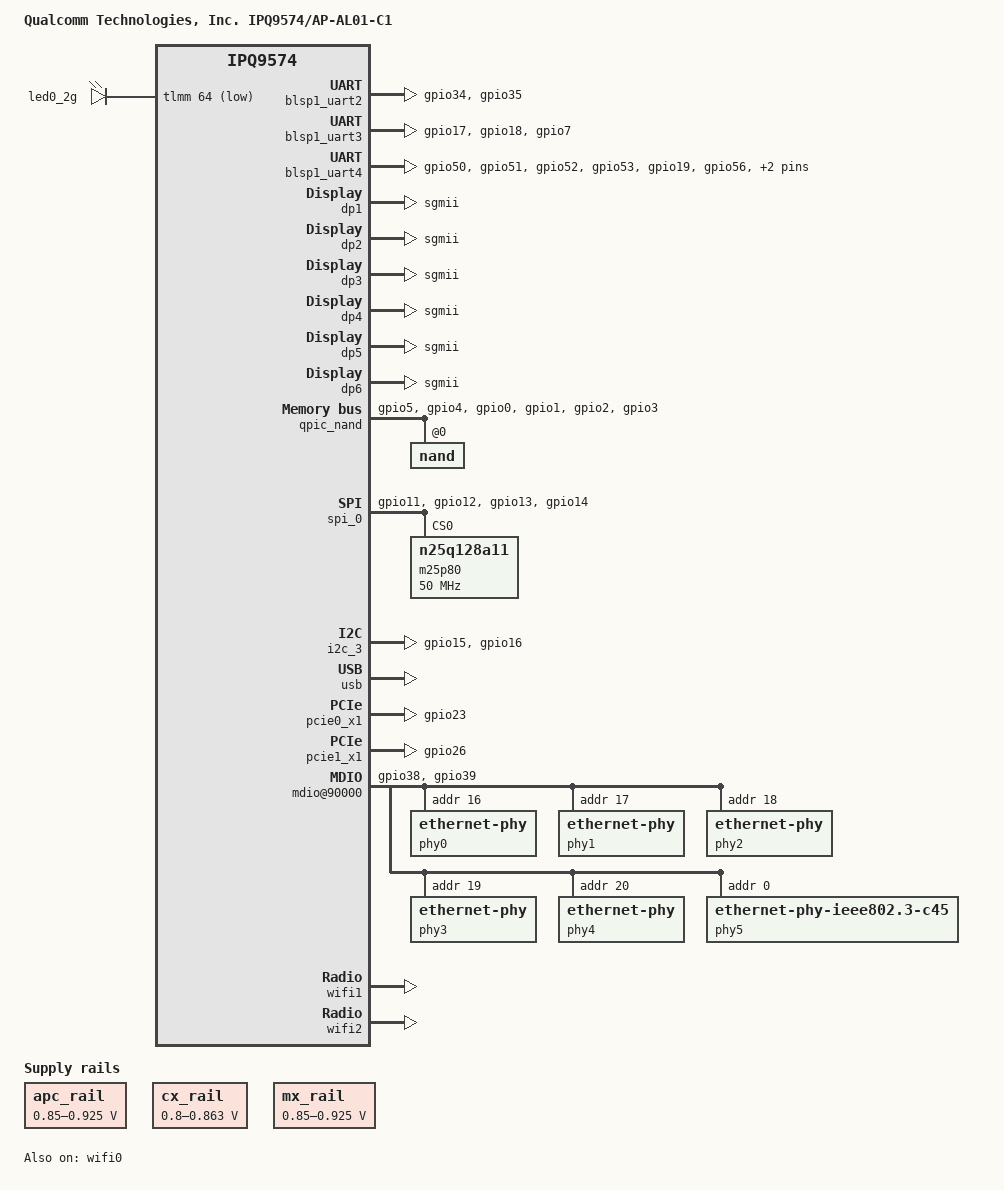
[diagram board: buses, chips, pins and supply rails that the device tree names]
// SPDX-License-Identifier: (GPL-2.0+ OR BSD-3-Clause)
/*
 * IPQ9574 AL01-C1 board device tree source
 *
 * Copyright (c) 2020-2021 The Linux Foundation. All rights reserved.
 * Copyright (c) 2022 Qualcomm Innovation Center, Inc. All rights reserved.
 */

/dts-v1/;

#include "ipq9574.dtsi"
#ifdef __IPQ_MEM_PROFILE_512_MB__
#include "ipq9574-512MB-memory.dtsi"
#else
#include "ipq9574-default-memory.dtsi"
#endif
#include "ipq9574-cpu.dtsi"

/ {
	#address-cells = <0x2>;
	#size-cells = <0x2>;
	model = "Qualcomm Technologies, Inc. IPQ9574/AP-AL01-C1";
	compatible = "qcom,ipq9574-ap-al01-c1", "qcom,ipq9574-al01", "qcom,ipq9574";
	interrupt-parent = <&intc>;

	aliases {
		serial0 = &blsp1_uart2;
		serial1 = &blsp1_uart4;
		serial2 = &blsp1_uart3;
		ethernet0 = "/soc/dp1";
		ethernet1 = "/soc/dp2";
		ethernet2 = "/soc/dp3";
		ethernet3 = "/soc/dp4";
		ethernet4 = "/soc/dp5";
		ethernet5 = "/soc/dp6";
	};

	chosen {
		stdout-path = "serial0";
	};

	soc {
		pinctrl@1000000 {
			pci0_pin: pci0-pinmux {
				pins = "gpio23";
				function = "gpio";
				drive-strength = <8>;
				bias-pull-up;
				output-low;
			};

			pci1_pin: pci1-pinmux {
				pins = "gpio26";
				function = "gpio";
				drive-strength = <8>;
				bias-pull-down;
				output-low;
			};

			pci2_pin: pci2-pinmux {
				pins = "gpio29";
				function = "gpio";
				drive-strength = <8>;
				bias-pull-down;
				output-low;
			};

			blsp1_uart2_pins: blsp1_uart2_pinmux {
				pins = "gpio34", "gpio35";
				function = "blsp2_uart";
				drive-strength = <8>;
				bias-disable;
			};

			gps_pins: gps_pins {
				blsp3_uart_pinmux {
					pins = "gpio17", "gpio18";
					function = "blsp3_uart";
					drive-strength = <8>;
					bias-disable;
				};

				gps_on_off {
					pins = "gpio7";
					function = "gpio";
					drive-strength = <8>;
					bias-pull-down;
				};
			};

			leds_pins: leds_pinmux {
				led0_2g {
					pins = "gpio64";
					function = "gpio";
					drive-strength = <8>;
					bias-pull-up;
				};
			};

			qspi_nand_pins: qspi_nand_pins {
				qspi_clock {
					pins = "gpio5";
					function = "qspi_clk";
					drive-strength = <8>;
					bias-disable;
				};

				qspi_cs {
					pins = "gpio4";
					function = "qspi_cs";
					drive-strength = <8>;
					bias-disable;
				};

				qspi_data {
					pins = "gpio0", "gpio1", "gpio2", "gpio3";
					function = "qspi_data";
					drive-strength = <8>;
					bias-disable;
				};
			};

			spi_0_pins: spi-0-pins {
				pins = "gpio11", "gpio12", "gpio13", "gpio14";
				function = "blsp0_spi";
				drive-strength = <8>;
				bias-disable;
			};

			i2c_3_pins: i2c-3-pins {
				pins = "gpio15", "gpio16";
				function = "blsp3_i2c";
				drive-strength = <8>;
				bias-disable;
			};

			mdio_pins: mdio_pinmux {
				mux_0 {
					pins = "gpio38";
					function = "mdc";
					drive-strength = <8>;
					bias-disable;
				};
				mux_1 {
					pins = "gpio39";
					function = "mdio";
					drive-strength = <8>;
					bias-pull-up;
				};
			};

			button_pins: button_pins {
				wps_button {
					pins = "gpio37";
					function = "gpio";
					drive-strength = <8>;
					bias-pull-up;
				};
			};

			QCC710_pins: QCC710_pins {
				blsp1_uart4_pinmux {
					pins = "gpio50", "gpio51", "gpio52", "gpio53";
					function = "blsp4_uart";
					drive-strength = <8>;
					bias-disable;
				};
				QCC710_reset {
					pins = "gpio19";
					function = "gpio";
					drive-strength = <8>;
					bias-pull-down;
				};
			};

			pta_QCC710: pta_QCC710 {
				pta1_0 {
					pins = "gpio56";
					function = "pta1_0";
					drive-strength = <8>;
					bias-disable;
				};
				pta1_1 {
					pins = "gpio54";
					function = "pta1_1";
					drive-strength = <8>;
					bias-disable;
				};
				pta1_2 {
					pins = "gpio55";
					function = "pta1_2";
					drive-strength = <8>;
					bias-disable;
				};
			};
		};

		blsp1_uart2: serial@78b1000 {
			pinctrl-0 = <&blsp1_uart2_pins>;
			pinctrl-names = "default";
			status = "ok";
		};

		blsp1_uart3: serial@78b2000 {
			pinctrl-0 = <&gps_pins>;
			pinctrl-names = "default";
			status = "ok";
		};

		blsp1_uart4: serial@78b3000 {
			pinctrl-0 = <&QCC710_pins &pta_QCC710>;
			pinctrl-names = "default";
			status = "ok";
		};

		nss0: nss@40000000 {
			npu-supply = <&dummy_reg>;
			mx-supply = <&dummy_reg>;
		};

		rpm-glink {
			status = "disabled";
		};

		dp1 {
			device_type = "network";
			compatible = "qcom,nss-dp";
			qcom,id = <1>;
			reg = <0x3a001000 0x200>;
			qcom,mactype = <0>;
			qcom,link-poll = <1>;
			local-mac-address = [000000000000];
			qcom,phy-mdio-addr = <16>;
			phy-mode = "sgmii";
		};

		dp2 {
			device_type = "network";
			compatible = "qcom,nss-dp";
			qcom,id = <2>;
			reg = <0x3a001200 0x200>;
			qcom,mactype = <0>;
			qcom,link-poll = <1>;
			local-mac-address = [000000000000];
			qcom,phy-mdio-addr = <17>;
			phy-mode = "sgmii";
		};

		dp3 {
			device_type = "network";
			compatible = "qcom,nss-dp";
			qcom,id = <3>;
			reg = <0x3a001400 0x200>;
			qcom,mactype = <0>;
			qcom,link-poll = <1>;
			local-mac-address = [000000000000];
			qcom,phy-mdio-addr = <18>;
			phy-mode = "sgmii";
		};

		dp4 {
			device_type = "network";
			compatible = "qcom,nss-dp";
			qcom,id = <4>;
			reg = <0x3a001600 0x200>;
			qcom,mactype = <0>;
			qcom,link-poll = <1>;
			local-mac-address = [000000000000];
			qcom,phy-mdio-addr = <19>;
			phy-mode = "sgmii";
		};

		dp5 {
			device_type = "network";
			compatible = "qcom,nss-dp";
			qcom,id = <5>;
			reg = <0x3a001800 0x200>;
			qcom,mactype = <0>;
			qcom,link-poll = <1>;
			local-mac-address = [000000000000];
			qcom,phy-mdio-addr = <20>;
			phy-mode = "sgmii";
		};

		dp6 {
			device_type = "network";
			compatible = "qcom,nss-dp";
			qcom,id = <6>;
			reg = <0x3a514000 0x4000>;
			qcom,mactype = <1>;
			qcom,link-poll = <1>;
			local-mac-address = [000000000000];
			qcom,phy-mdio-addr = <0>;
			phy-mode = "sgmii";
		};

		qpic_bam: dma@7984000 {
			status = "ok";
		};

		qpic_nand: nand@79b0000 {
			status = "ok";
			pinctrl-0 = <&qspi_nand_pins>;
			pinctrl-names = "default";
			qcom,io_macro_max_clk = <320000000>;
			qcom,io_macro_clk_rates = <24000000 100000000 200000000 \
						  320000000>;
			nand@0 {
				reg = <0>;
				#address-cells = <1>;
				#size-cells = <1>;

				nand-ecc-strength = <4>;
				nand-ecc-step-size = <512>;
				nand-bus-width = <8>;
			};
		};

		spi_0: spi@78b5000 { /* BLSP1 QUP0 */
			status = "ok";
			pinctrl-0 = <&spi_0_pins>;
			pinctrl-names = "default";
			cs-select = <0>;

			m25p80@0 {
				compatible = "n25q128a11";
				#address-cells = <1>;
				#size-cells = <1>;
				reg = <0>;
				spi-max-frequency = <50000000>;
			};
		};

		eud: qcom,msm-eud {
			status = "ok";
		};

		i2c_3: i2c@78b8000 {
			status = "ok";
			pinctrl-0 = <&i2c_3_pins>;
			pinctrl-names = "default";
		};

		usb: usb3@8A00000 {
			status = "ok";
		};

		qusb_phy_0: qusb@7B000 {
			status = "ok";
		};

		ssphy_0: ssphy@7D000 {
			status = "ok";
		};

		leds {
			compatible = "gpio-leds";
			pinctrl-0 = <&leds_pins>;
			pinctrl-names = "default";
			led@64 {
				label = "led0_2g";
				gpios = <&tlmm 64 GPIO_ACTIVE_LOW>;
				linux,default-trigger = "led_2g";
				default-state = "off";
			};
		};

		pcie0_x1: pci@28000000 {
			pinctrl-0 = <&pci0_pin>;
			pinctrl-names = "default";
			perst-gpio = <&tlmm 23 1>;
			status = "ok";
			pcie0_rp {
				reg = <0 0 0 0 0>;

				wifi@0 {
					reg = <0 0 0 0 0>;
					qrtr_instance_id = <0x20>;
#if defined(__CNSS2__)
					memory-region = <0>,<&mhi_region0>;
#endif
					status = "ok";
				};
			};
		};

		pcie0_phy: phy@84000 {
			status = "ok";
		};

		pcie1_x1: pci@10000000 {
			pinctrl-0 = <&pci1_pin>;
			pinctrl-names = "default";
			perst-gpio = <&tlmm 26 1>;
			status = "ok";
			pcie1_rp {
				reg = <0 0 0 0 0>;

				wifi@1 {
					reg = <0 0 0 0 0>;
					qrtr_instance_id = <0x21>;
#if defined(__CNSS2__)
					memory-region = <0>,<&mhi_region1>;
#endif
					status = "ok";
				};
			};
		};

		pcie1_phy: phy@fc000 {
			status = "ok";
		};

		pcie2_x2: pci@20000000 {
			pinctrl-0 = <&pci2_pin>;
			pinctrl-names = "default";
			perst-gpio = <&tlmm 29 1>;
			status = "disabled";
			pcie2_rp {
				reg = <0 0 0 0 0>;
			};
		};

		pcie2_phy: phy@8c000 {
			status = "disabled";
		};

		mdio@90000 {
			status = "ok";
			pinctrl-0 = <&mdio_pins>;
			pinctrl-names = "default";
			/*gpio60 for malibu reset, gpio36 for aqr reset reserved */
			phy-reset-gpio = <&tlmm 60 0>;
			phy0: ethernet-phy@0 {
				reg = <16>;
			};
			phy1: ethernet-phy@1 {
				reg = <17>;
			};
			phy2: ethernet-phy@2 {
				reg = <18>;
			};
			phy3: ethernet-phy@3 {
				reg = <19>;
			};
			phy4: ethernet-phy@4 {
				reg = <20>;
			};
			phy5: ethernet-phy@5 {
				compatible ="ethernet-phy-ieee802.3-c45";
				reg = <0>;
			};
		};

		ess-instance {
			num_devices = <0x1>;
			ess-switch@3a000000 {
				switch_cpu_bmp = <0x1>;  /* cpu port bitmap */
				switch_lan_bmp = <0x3e>; /* lan port bitmap */
				switch_wan_bmp = <0x40>; /* wan port bitmap */
				switch_mac_mode = <0x0>; /* mac mode for uniphy instance0*/
				switch_mac_mode1 = <0xff>; /* mac mode for uniphy instance1*/
				switch_mac_mode2 = <0xd>; /* mac mode for uniphy instance2*/
				bm_tick_mode = <0>; /* bm tick mode */
				tm_tick_mode = <0>; /* tm tick mode */

				qcom,port_phyinfo {
					port@0 {
						port_id = <1>;
						phy_address = <16>;
					};
					port@1 {
						port_id = <2>;
						phy_address = <17>;
					};
					port@2 {
						port_id = <3>;
						phy_address = <18>;
					};
					port@3 {
						port_id = <4>;
						phy_address = <19>;
					};
					port@4 {
						port_id = <5>;
						phy_address = <20>;
					};
					port@5 {
						port_id = <6>;
						phy_address = <0>;
						ethernet-phy-ieee802.3-c45;
					};
				};

			};
		};

		/* EDMA host driver configuration for the board */
		edma@3ab00000 {
			qcom,txdesc-ring-start = <4>;		/* Tx desc ring start ID */
			qcom,txdesc-rings = <28>;		/* Total number of Tx desc rings to be provisioned */
			qcom,txcmpl-ring-start = <4>;		/* Tx complete ring start ID */
			qcom,txcmpl-rings = <28>;		/* Total number of Tx complete rings to be provisioned */
			qcom,rxfill-ring-start = <4>;		/* Rx fill ring start ID */
			qcom,rxfill-rings = <4>;		/* Total number of Rx fill rings to be provisioned */
			qcom,rxdesc-ring-start = <20>;		/* Rx desc ring start ID */
			qcom,rxdesc-rings = <4>;		/* Total number of Rx desc rings to be provisioned */
			qcom,rx-page-mode = <0>;		/* Rx fill ring page mode */
			qcom,tx-map-priority-level = <1>;	/* Tx priority level per port */
			qcom,rx-map-priority-level = <1>;	/* Rx priority level per core */
			qcom,ppeds-num = <0>;			/* Number of PPEDS nodes */
			qcom,txdesc-map = <8 9 10 11>,		/* Port0 per-core Tx ring map */
					<12 13 14 15>,		/* Port1 per-core Tx ring map */
					<16 17 18 19>,		/* Port2 per-core Tx ring map */
					<20 21 22 23>,		/* Port3 per-core Tx ring map */
					<24 25 26 27>,		/* Port4 per-core Tx ring map */
					<28 29 30 31>,		/* Port5 per-core Tx ring map */
					<4 5 6 7>;		/* Used only for packets from VP */
			qcom,txdesc-fc-grp-map = <1 2 3 4 5 6>;	/* Per GMAC flow control group map */
			qcom,rxfill-map = <4 5 6 7>;		/* Per-core Rx fill ring map */
			qcom,rxdesc-map = <20 21 22 23>;	/* Per-core Rx desc ring map */
			qcom,rx-queue-start = <0>;		/* Rx queue start */
			qcom,rx-ring-queue-map = <0 8 16 24>,	/* Priority 0 queues per-core Rx ring map */
					<1 9 17 25>,		/* Priority 1 queues per-core Rx ring map */
					<2 10 18 26>,		/* Priority 2 queues per-core Rx ring map */
					<3 11 19 27>,		/* Priority 3 queues per-core Rx ring map */
					<4 12 20 28>,		/* Priority 4 queues per-core Rx ring map */
					<5 13 21 29>,		/* Priority 5 queues per-core Rx ring map */
					<6 14 22 30>,		/* Priority 6 queues per-core Rx ring map */
					<7 15 23 31>;		/* Priority 7 queues per-core Rx ring map */
			qcom,vp-id = <8>;			/* Virtual port dummy MAC Id */
			qcom,txdesc_point_offload_ring = <0>;		/* Txdesc point offlaod ring */
			qcom,txcmpl_point_offload_ring = <0>;		/* Txcmpl point offlaod ring */
			qcom,rxfill_point_offload_ring = <0>;		/* Rxfill point offlaod ring */
			qcom,rxdesc_point_offload_ring = <0>;		/* Rxdesc point offlaod ring */
			interrupts = <0 367 4>,			/* Tx complete ring id #4 IRQ info */
				   <0 368 4>,			/* Tx complete ring id #5 IRQ info */
				   <0 369 4>,			/* Tx complete ring id #6 IRQ info */
				   <0 370 4>,			/* Tx complete ring id #7 IRQ info */
				   <0 371 4>,			/* Tx complete ring id #8 IRQ info */
				   <0 372 4>,			/* Tx complete ring id #9 IRQ info */
				   <0 373 4>,			/* Tx complete ring id #10 IRQ info */
				   <0 374 4>,			/* Tx complete ring id #11 IRQ info */
				   <0 375 4>,			/* Tx complete ring id #12 IRQ info */
				   <0 376 4>,			/* Tx complete ring id #13 IRQ info */
				   <0 377 4>,			/* Tx complete ring id #14 IRQ info */
				   <0 378 4>,			/* Tx complete ring id #15 IRQ info */
				   <0 379 4>,			/* Tx complete ring id #16 IRQ info */
				   <0 380 4>,			/* Tx complete ring id #17 IRQ info */
				   <0 381 4>,			/* Tx complete ring id #18 IRQ info */
				   <0 382 4>,			/* Tx complete ring id #19 IRQ info */
				   <0 383 4>,			/* Tx complete ring id #20 IRQ info */
				   <0 384 4>,			/* Tx complete ring id #21 IRQ info */
				   <0 509 4>,			/* Tx complete ring id #22 IRQ info */
				   <0 508 4>,			/* Tx complete ring id #23 IRQ info */
				   <0 507 4>,			/* Tx complete ring id #24 IRQ info */
				   <0 506 4>,			/* Tx complete ring id #25 IRQ info */
				   <0 505 4>,			/* Tx complete ring id #26 IRQ info */
				   <0 504 4>,			/* Tx complete ring id #27 IRQ info */
				   <0 503 4>,			/* Tx complete ring id #28 IRQ info */
				   <0 502 4>,			/* Tx complete ring id #29 IRQ info */
				   <0 501 4>,			/* Tx complete ring id #30 IRQ info */
				   <0 500 4>,			/* Tx complete ring id #31 IRQ info */
				   <0 351 4>,			/* Rx desc ring id #20 IRQ info */
				   <0 352 4>,			/* Rx desc ring id #21 IRQ info */
				   <0 353 4>,			/* Rx desc ring id #22 IRQ info */
				   <0 354 4>,			/* Rx desc ring id #23 IRQ info */
				   <0 499 4>;			/* Misc error IRQ info */
		};

		apc_rail: apc-gpio-regulator {
			compatible = "regulator-gpio";
			regulator-name = "vdd-apc";
			regulator-type = "voltage";
			regulator-boot-on;
			regulator-always-on;
			regulator-min-microvolt = <850000>;
			regulator-max-microvolt = <925000>;
			regulator-ramp-delay = <250>; /* 20ms */
			gpios = <&tlmm 57 GPIO_ACTIVE_HIGH>;
			gpios-states = <0x1>;
			states = <850000 0>, <925000 1>;
		};

		cx_rail: cx-gpio-regulator {
			compatible = "regulator-gpio";
			regulator-name = "vdd-cx";
			regulator-type = "voltage";
			regulator-boot-on;
			regulator-always-on;
			regulator-min-microvolt = <800000>;
			regulator-max-microvolt = <863000>;
			regulator-ramp-delay = <250>; /* 20ms */
			gpios = <&tlmm 47 GPIO_ACTIVE_HIGH>;
			gpios-states = <0x1>;
			states = <800000 0>, <863000 1>;
		};

		mx_rail: mx-gpio-regulator {
			compatible = "regulator-gpio";
			regulator-name = "vdd-mx";
			regulator-type = "voltage";
			regulator-boot-on;
			regulator-always-on;
			regulator-min-microvolt = <850000>;
			regulator-max-microvolt = <925000>;
			regulator-ramp-delay = <250>; /* 20ms */
			gpios = <&tlmm 45 GPIO_ACTIVE_HIGH>;
			gpios-states = <0x1>;
			states = <850000 0>, <925000 1>;
		};

		qcom,gpio-regulator {
			compatible = "qcom,ipq9574-gpio-regulator";
			reg = <0xa4000 0x1000>;
			reg-names = "fuse_base";
			apc-supply = <&apc_rail>;
			cx-supply = <&cx_rail>;
			mx-supply = <&mx_rail>;
			/* AL01 RDP's scaled voltage can only support upto CPU Freq
			 * 1.8 GHz. But SKUs like IPQ9574/IPQ9570 supports 2.2GHz of
			 * CPU freq. So, if we do scaling on AL01 + IPQ9574/IPQ9570,
			 * then voltage becomes insufficient when CPU operates at 2.2GHz.
			 * Below quirk disables the voltage scaling if AL01 has
			 * IPQ9574/IPQ9570
			 */
			skip-voltage-scaling-turboL1-sku-quirk;
		};
	};
};

&CPU0 {
        cpu0-supply = <&dummy_reg_cpu>;
};

&CPU1 {
        cpu-supply = <&dummy_reg_cpu>;
};

&CPU2 {
        cpu-supply = <&dummy_reg_cpu>;
};

&CPU3 {
        cpu-supply = <&dummy_reg_cpu>;
};

&cpus {
	cpu_opp_table: cpu_opp_table {
		/delete-node/ opp-0;
		opp-936000000 {
		      opp-microvolt = <1075000>;
		};
		opp-1104000000 {
		       opp-microvolt = <1075000>;
		};
		opp-1200000000 {
		       opp-microvolt = <1075000>;
		};
		opp-1416000000 {
		       opp-microvolt = <1075000>;
		};
		opp-1488000000 {
		       opp-microvolt = <1075000>;
		};
		opp-1608000000 {
		       opp-microvolt = <1075000>;
		};
		opp-1800000000 {
		       opp-microvolt = <1075000>;
	       };
	       opp-2208000000 {
		       opp-microvolt = <1075000>;
	       };
	};
};

&apc_apm {
	status = "disabled";
};

&apc_cpr {
	status = "disabled";
};

&npu_cpr {
	status = "disabled";
};

&license_manager {
	status = "disabled";
};

&wifi0 {
       led-gpio = <&tlmm 64 1>;
       qcom,board_id = <0x10>;
       status = "ok";
};

&wifi1 {
#if !defined(__IPQ_MEM_PROFILE_256_MB__)
#ifdef __IPQ_MEM_PROFILE_512_MB__
	/* QCN9000 tgt-mem-mode=1 layout - 26MB
	 * +=========+==============+=========+
	 * |  Region | Start Offset |   Size  |
	 * +---------+--------------+---------+
	 * | HREMOTE |  0x4CF00000  |   12MB  |
	 * +---------+--------------+---------+
	 * | M3 Dump |  0x4DB00000  |   1MB   |
	 * +---------+--------------+---------+
	 * |   ETR   |  0x4DC00000  |   1MB   |
	 * +---------+--------------+---------+
	 * |  Caldb  |  0x4DD00000  |   8MB   |
	 * +---------+--------------+---------+
	 * | Pageable|  0x4E500000  |   4MB   |
	 * +==================================+
	 */
	base-addr = <0x4CF00000>;
	m3-dump-addr = <0x4DB00000>;
	etr-addr = <0x4DC00000>;
	caldb-addr = <0x4DD00000>;
	pageable-addr = <0x4E500000>;
	hremote-size = <0xC00000>;
	pageable-size = <0x400000>;
	tgt-mem-mode = <0x1>;
#else
	/* QCN9000 tgt-mem-mode=0 layout - 53MB
	 * +=========+==============+=========+
	 * |  Region | Start Offset |   Size  |
	 * +---------+--------------+---------+
	 * | HREMOTE |  0x4DD00000  |   35MB  |
	 * +---------+--------------+---------+
	 * | M3 Dump |  0x50000000  |   1MB   |
	 * +---------+--------------+---------+
	 * |   ETR   |  0x50100000  |   1MB   |
	 * +---------+--------------+---------+
	 * |  Caldb  |  0x50200000  |   8MB   |
	 * +---------+--------------+---------+
	 * | Pageable|  0x50A00000  |   8MB   |
	 * +==================================+
	 */
	base-addr = <0x4DD00000>;
	m3-dump-addr = <0x50000000>;
	etr-addr = <0x50100000>;
	caldb-addr = <0x50200000>;
	pageable-addr = <0x50A00000>;
	hremote-size = <0x2300000>;
	pageable-size = <0x800000>;
	tgt-mem-mode = <0x0>;
#endif
	hremote_node = <&qcn9000_pcie0>;
	caldb-size = <0x800000>;
	board_id = <0xa4>;
	status = "ok";
#endif
};

&wifi2 {
#if !defined(__IPQ_MEM_PROFILE_256_MB__)
#ifdef __IPQ_MEM_PROFILE_512_MB__
	/* QCN9000 tgt-mem-mode=1 layout - 26MB
	 * +=========+==============+=========+
	 * |  Region | Start Offset |   Size  |
	 * +---------+--------------+---------+
	 * | HREMOTE |  0x4E900000  |   12MB  |
	 * +---------+--------------+---------+
	 * | M3 Dump |  0x4F500000  |   1MB   |
	 * +---------+--------------+---------+
	 * |   ETR   |  0x4F600000  |   1MB   |
	 * +---------+--------------+---------+
	 * |  Caldb  |  0x4F700000  |   8MB   |
	 * +---------+--------------+---------+
	 * | Pageable|  0x4FF00000  |   4MB   |
	 * +==================================+
	 */
	base-addr = <0x4E900000>;
	m3-dump-addr = <0x4F500000>;
	etr-addr = <0x4F600000>;
	caldb-addr = <0x4F700000>;
	pageable-addr = <0x4FF00000>;
	hremote-size = <0xC00000>;
	pageable-size = <0x400000>;
	tgt-mem-mode = <0x1>;
#else
	/* QCN9000 tgt-mem-mode=0 layout - 53MB
	 * +=========+==============+=========+
	 * |  Region | Start Offset |   Size  |
	 * +---------+--------------+---------+
	 * | HREMOTE |  0x51200000  |   35MB  |
	 * +---------+--------------+---------+
	 * | M3 Dump |  0x53500000  |   1MB   |
	 * +---------+--------------+---------+
	 * |   ETR   |  0x53600000  |   1MB   |
	 * +---------+--------------+---------+
	 * |  Caldb  |  0x53700000  |   8MB   |
	 * +---------+--------------+---------+
	 * | Pageable|  0x53F00000  |   8MB   |
	 * +==================================+
	 */
	base-addr = <0x51200000>;
	m3-dump-addr = <0x53500000>;
	etr-addr = <0x53600000>;
	caldb-addr = <0x53700000>;
	pageable-addr = <0x53F00000>;
	hremote-size = <0x2300000>;
	pageable-size = <0x800000>;
	tgt-mem-mode = <0x0>;
#endif
	hremote_node = <&qcn9000_pcie1>;
	caldb-size = <0x800000>;
	board_id = <0xa3>;
	status = "ok";
#endif
};
